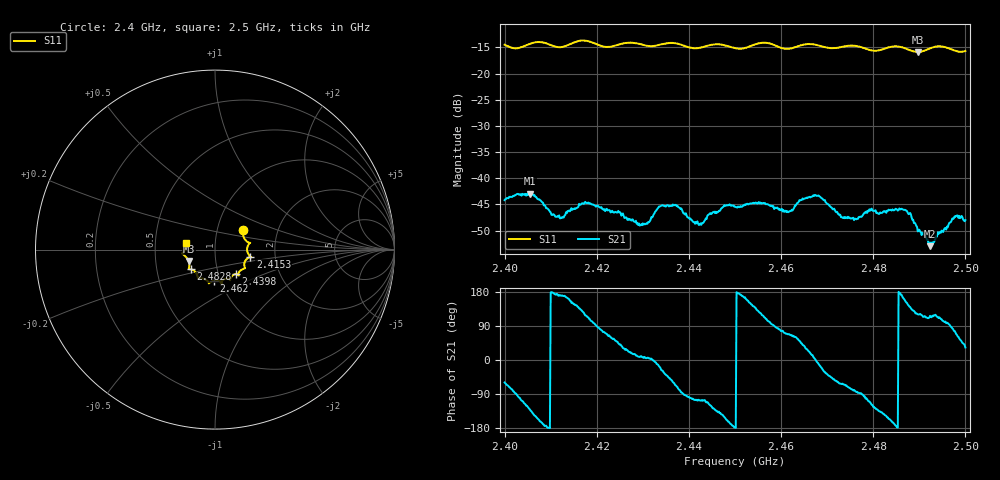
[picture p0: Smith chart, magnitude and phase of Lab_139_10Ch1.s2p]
# Hz S RI R 50
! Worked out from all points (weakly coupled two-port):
!   601 points, 2.4 GHz to 2.5 GHz, reference 50 ohm
!   highest |S21| = -42.93 dB at 2.4055 GHz (marker M1); lowest = -53.0 dB at 2.4923 GHz (marker M2)
!   lowest |S11| = -15.9 dB at 2.4897 GHz (marker M3), VSWR 1.38, Z = 36.9 - j4.82 ohm
!   |S11| at or under -10 dB: start of sweep to end of sweep
!   S12 and S22 are empty: the file has one direction only
!   S11 on the Smith chart (normalised r, x): 2.4 GHz: 1.33, +0.29; 2.4153 GHz: 1.48, -0.12; 2.4398 GHz: 1.21, -0.34; 2.462 GHz: 0.93, -0.33; 2.4828 GHz: 0.74, -0.17; 2.5 GHz: 0.72, +0.06
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2.4e9  0.1552 0.1069  0.00315 -0.00531  0 0  0 0
2.4055e9  0.1885 0.0388  -0.00466 -0.00541  0 0  0 0
2.4115e9  0.1789 0.0071  -0.0043 0.000544  0 0  0 0
2.415333e9  0.1964 -0.0387  -0.00415 0.00293  0 0  0 0
2.416667e9  0.2024 -0.0427  -0.00377 0.00423  0 0  0 0
2.429333e9  0.1588 -0.1068  0.00349 0.000489  0 0  0 0
2.433333e9  0.1308 -0.1337  0.00508 -0.00117  0 0  0 0
2.437e9  0.1321 -0.1436  0.00226 -0.00509  0 0  0 0
2.439833e9  0.1155 -0.1363  -0.000536 -0.00417  0 0  0 0
2.4425e9  0.092 -0.1507  -0.00108 -0.00354  0 0  0 0
2.45e9  0.0647 -0.1625  -0.00535 -0.000232  0 0  0 0
2.456e9  0.0383 -0.193  -0.00268 0.00509  0 0  0 0
2.462e9  -0.00495 -0.1731  0.002 0.00441  0 0  0 0
2.466667e9  -0.0344 -0.1879  0.00648 0.0015  0 0  0 0
2.4735e9  -0.0843 -0.1602  0.00181 -0.00374  0 0  0 0
2.482833e9  -0.1364 -0.1096  -0.00396 -0.00247  0 0  0 0
2.483333e9  -0.1403 -0.1093  -0.00453 -0.00211  0 0  0 0
2.486833e9  -0.144 -0.0988  -0.00465 0.00182  0 0  0 0
2.489667e9  -0.1474 -0.0636  -0.00158 0.00267  0 0  0 0
2.492333e9  -0.171 -0.0317  -0.001 0.002  0 0  0 0
2.497667e9  -0.1658 0.000773  0.00101 0.0042  0 0  0 0
2.5e9  -0.1597 0.039  0.00333 0.00217  0 0  0 0
